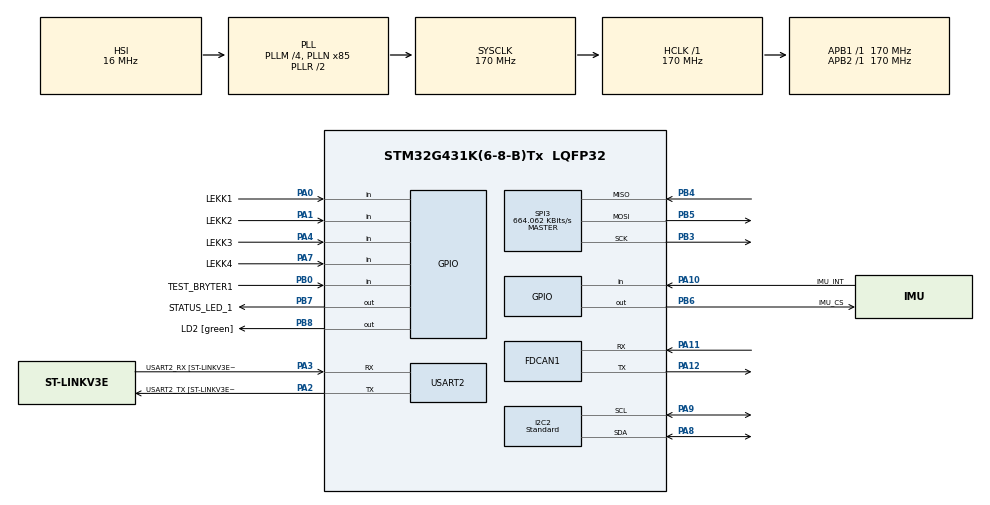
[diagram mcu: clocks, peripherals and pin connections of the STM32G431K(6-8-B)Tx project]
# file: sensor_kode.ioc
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FDCAN1.AutoRetransmission=ENABLE
FDCAN1.CalculateBaudRateNominal=500000
FDCAN1.CalculateTimeBitNominal=2000
FDCAN1.CalculateTimeQuantumNominal=100.0
FDCAN1.DataPrescaler=17
FDCAN1.DataTimeSeg1=15
FDCAN1.DataTimeSeg2=4
FDCAN1.NominalPrescaler=17
FDCAN1.NominalTimeSeg1=15
FDCAN1.NominalTimeSeg2=4
FDCAN1.StdFiltersNbr=1
I2C2.I2C_Speed_Mode=I2C_Standard
I2C2.Timing=0x30A0A7FB
Mcu.Family=STM32G4
Mcu.Name=STM32G431K(6-8-B)Tx
Mcu.Package=LQFP32
NVIC.FDCAN1_IT0_IRQn=true\:0\:0\:false\:false\:true\:true\:true\:true
NVIC.PriorityGroup=NVIC_PRIORITYGROUP_4
NVIC.TIM2_IRQn=true\:0\:0\:false\:false\:true\:true\:true\:true
PA0.GPIO_Label=LEKK1
PA0.Signal=GPIO_Input
PA1.GPIO_Label=LEKK2
PA1.Signal=GPIO_Input
PA10.GPIO_Label=IMU_INT
PA10.Signal=GPIO_Input
PA11.Mode=FDCAN_Activate
PA11.Signal=FDCAN1_RX
PA12.Mode=FDCAN_Activate
PA12.Signal=FDCAN1_TX
PA13.GPIO_Label=T_SWDIO
PA13.Mode=Serial_Wire
PA13.Signal=SYS_JTMS-SWDIO
PA14.GPIO_Label=T_SWCLK
PA14.Mode=Serial_Wire
PA14.Signal=SYS_JTCK-SWCLK
PA2.GPIO_Label=USART2_TX [ST-LINKV3E_VCP_RX]
PA2.Mode=Asynchronous
PA2.Signal=USART2_TX
PA3.GPIO_Label=USART2_RX [ST-LINKV3E_VCP_TX]
PA3.Mode=Asynchronous
PA3.Signal=USART2_RX
PA4.GPIO_Label=LEKK3
PA4.Signal=GPIO_Input
PA7.GPIO_Label=LEKK4
PA7.Signal=GPIO_Input
PA8.Mode=I2C
PA8.Signal=I2C2_SDA
PA9.Mode=I2C
PA9.Signal=I2C2_SCL
PB0.GPIO_Label=TEST_BRYTER1
PB0.Signal=GPIO_Input
PB3.Mode=Full_Duplex_Master
PB3.Signal=SPI3_SCK
PB4.Mode=Full_Duplex_Master
PB4.Signal=SPI3_MISO
PB5.Mode=Full_Duplex_Master
PB5.Signal=SPI3_MOSI
PB6.GPIO_Label=IMU_CS
PB6.Signal=GPIO_Output
PB7.GPIO_Label=STATUS_LED_1
PB7.GPIO_Speed=GPIO_SPEED_FREQ_VERY_HIGH
PB7.Signal=GPIO_Output
PB8-BOOT0.GPIO_Label=LD2 [green]
PB8-BOOT0.Signal=GPIO_Output
ProjectManager.HeapSize=0x200
ProjectManager.StackSize=0x400
ProjectManager.TargetToolchain=STM32CubeIDE
RCC.ADC12Freq_Value=170000000
RCC.AHBFreq_Value=170000000
RCC.APB1Freq_Value=170000000
RCC.APB1TimFreq_Value=170000000
RCC.APB2Freq_Value=170000000
RCC.APB2TimFreq_Value=170000000
RCC.CortexFreq_Value=170000000
RCC.EXTERNAL_CLOCK_VALUE=12288000
RCC.HCLKFreq_Value=170000000
RCC.HSE_VALUE=8000000
RCC.HSI48_VALUE=48000000
RCC.HSI_VALUE=16000000
RCC.LSE_VALUE=32768
RCC.PLLM=RCC_PLLM_DIV4
RCC.PLLN=85
RCC.SYSCLKFreq_VALUE=170000000
RCC.SYSCLKSource=RCC_SYSCLKSOURCE_PLLCLK
RCC.USBFreq_Value=170000000
RCC.VCOOutputFreq_Value=340000000
SPI3.BaudRatePrescaler=SPI_BAUDRATEPRESCALER_256
SPI3.CalculateBaudRate=664.062 KBits/s
SPI3.DataSize=SPI_DATASIZE_8BIT
SPI3.Direction=SPI_DIRECTION_2LINES
SPI3.Mode=SPI_MODE_MASTER
SPI3.VirtualType=VM_MASTER
TIM2.AutoReloadPreload=TIM_AUTORELOAD_PRELOAD_ENABLE
TIM2.PeriodNoDither=10000
TIM2.Prescaler=170
USART2.MSBFirstParam=ADVFEATURE_MSBFIRST_DISABLE
USART2.VirtualMode-Asynchronous=VM_ASYNC
USART2.WordLength=WORDLENGTH_8B
VP_TIM2_VS_ClockSourceINT.Mode=Internal
board=NUCLEO-G431KB

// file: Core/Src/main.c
/* USER CODE BEGIN Header */
/**
 ******************************************************************************
 * @file           : main.c
 * @brief          : Main program body
 ******************************************************************************
 * @attention
 *
 * Copyright (c) 2023 STMicroelectronics.
 * All rights reserved.
 *
 * This software is licensed under terms that can be found in the LICENSE file
 * in the root directory of this software component.
 * If no LICENSE file comes with this software, it is provided AS-IS.
 *
 ******************************************************************************
 */
/* USER CODE END Header */
#include "main.h"
#include "fdcan.h"
#include "i2c.h"
#include "spi.h"
#include "tim.h"
#include "usart.h"
#include "gpio.h"

/* USER CODE BEGIN Includes */
#include <stdbool.h>
#include <stdint.h>
#include <string.h>
#include <stdio.h>
#include <math.h>

#include "logging.h"
#include "stm32g431xx.h"
#include "stm32g4xx_hal.h"
#include "stm32g4xx_hal_fdcan.h"
#include "stm32g4xx_hal_gpio.h"
#include "stm32g4xx_hal_uart.h"
#include "stm32g4xx_it.h"
#include "ICM20948.h"
#include "helpers.h"
#include "orient.h"
#include "can_handler.h"
#include "gpio_handler.h"
#include "cordic.h"
#include "STTS75.h"
#include "MS5837.h"
#include "stm32g4xx_it.h"
#include "error_handler.h"

/* USER CODE END Includes */

/* USER CODE BEGIN PV */
int i = 0;
int a = 0;
int b = 0;
int c = 0;
int d = 0;
int e = 0;

ICM20948 imu;
STTS75 temp_sensor = {0};
MS5837 pres_sensor = {0};
bool TB_status;
extern uint8_t init_flags;

struct orientation orient = {0};
MS5837_StatusTypeDef pres_status;
//extern struct tim_2_flags tim_flags;

FDCAN_FilterTypeDef sFilterConfig;
FDCAN_TxHeaderTypeDef TxHeader;
FDCAN_RxHeaderTypeDef RxHeader;
uint8_t TxData[8] = {0x01,0x02,0x03,0x04,0x05,0x06,0x07,0x08};  // CAN-Bus Transmit Buffer
uint8_t RxData[8] = {0, 0, 0, 0, 0, 0, 0, 0};                   // CAN-Bus Receive Buffer

/* USER CODE END PV */

void SystemClock_Config(void);
/* USER CODE BEGIN PFP */
//void oppstartCAN(FDCAN_HandleTypeDef *canPort);
//void sendCAN(uint16_t id, FDCAN_HandleTypeDef *canPort);
ICM20948_StatusTypeDef IMU_Init(void);
/* USER CODE END PFP */

int main(void)
{

  /* MCU Configuration--------------------------------------------------------*/

  /* Reset of all peripherals, Initializes the Flash interface and the Systick. */
  HAL_Init();

  /* Configure the system clock */
  SystemClock_Config();

  /* Initialize all configured peripherals */
  MX_GPIO_Init();
  MX_USART2_UART_Init();
  MX_FDCAN1_Init();
  MX_I2C2_Init();
  MX_SPI3_Init();
  MX_TIM2_Init();
  /* USER CODE BEGIN 2 */
	HAL_GPIO_TogglePin(GPIOB, LED1_Pin);
	//HAL_GPIO_TogglePin(GPIOB, LED1_Pin);
    FDCAN_Init(&hfdcan1);
    ICM20948_StatusTypeDef imu_status = IMU_Init();
   // IMU_cal(&imu, 500);
    /* Init temp sensor */
    STTS75_Init(&temp_sensor, &hi2c2, STTS75_12BIT);
    /* Init pres sensor */
    vanntype vanntype = FERSKVANN;
    pres_status = MS5837_Init(&pres_sensor, &hi2c2, &vanntype);
    pres_status = MS5837_Read_PROMS(&pres_sensor);
    MS5837_nullstill_trykk(&pres_sensor);
    STTS75_StatusTypeDef temp_status;
    //CORDIC_Init();
    //IMU_cal(&imu, 1000);

    HAL_TIM_Base_Start_IT(&htim2);
    NVIC_EnableIRQ(TIM2_IRQn);
  /* USER CODE END 2 */

  /* Infinite loop */
  /* USER CODE BEGIN WHILE */
    //IMU_com_test();
    static last_leak_status = 0;
    while (1)
    {
    	i += 1;
    /* USER CODE END WHILE */

    /* USER CODE BEGIN 3 */

    	if (tim_flags.topside)
    	{
    		a += 1;
            tim_flags.topside = 0;
            if (temp_status || pres_status) Temp_error_handler(temp_status);
            FDCAN_Send_Temp_Pres(&temp_sensor, &pres_sensor, TOP_ID_TEMP_PRES);
            //ICM20948_Read_Data_Poll(&imu);
            //compute_orientation(&imu, &orient);
            FDCAN_Send_Orientation_Data(&orient, TOP_ID_ORIENTATION_DATA);

            Check_Leak_Probes();
            //if (leak_status && (last_leak_status != leak_status)) Send_Error_Code();
            if (leak_status) Send_Error_Code();
            last_leak_status = leak_status;
        }

        if (tim_flags.pres_read)
        {
        	b += 1;
            tim_flags.pres_read = 0;
            pres_status = MS5837_Dybde(&pres_sensor);
            if (pres_status) Pres_error_handler(pres_status);
        }

        if (tim_flags.temp_read)
        {
        	c += 1;
    	    HAL_GPIO_TogglePin(GPIOB, LED1_Pin);
            tim_flags.temp_read = 0;
            temp_status = STTS75_Read_Temp(&temp_sensor);
            if (temp_status) Temp_error_handler(temp_status);
        }
        if (tim_flags.reg_send)
        {
        	e += 1;
            tim_flags.reg_send = 0;
            imu_status = ICM20948_Read_Data_Poll(&imu);
            compute_orientation(&imu, &orient);
            if (imu_status) IMU_error_handler(imu_status);
            else FDCAN_Send_Reg(&orient, &pres_sensor);
        }

        if (init_flags)
        {
            //__disable_irq();
            if (init_flags & 1) MS5837_nullstill_trykk(&pres_sensor);
           // if ((init_flags & (1 << 1)) || (init_flags & (1 << 2))) IMU_cal(&imu, 100);
            if (init_flags & (1 << 3)) vanntype = SALTVANN;
            init_flags = 0;
            //__enable_irq();

        }
    }
  /* USER CODE END 3 */
}

void SystemClock_Config(void)
{
  RCC_OscInitTypeDef RCC_OscInitStruct = {0};
  RCC_ClkInitTypeDef RCC_ClkInitStruct = {0};

  /** Configure the main internal regulator output voltage
  */
  HAL_PWREx_ControlVoltageScaling(PWR_REGULATOR_VOLTAGE_SCALE1_BOOST);

  /** Initializes the RCC Oscillators according to the specified parameters
  * in the RCC_OscInitTypeDef structure.
  */
  RCC_OscInitStruct.OscillatorType = RCC_OSCILLATORTYPE_HSI;
  RCC_OscInitStruct.HSIState = RCC_HSI_ON;
  RCC_OscInitStruct.HSICalibrationValue = RCC_HSICALIBRATION_DEFAULT;
  RCC_OscInitStruct.PLL.PLLState = RCC_PLL_ON;
  RCC_OscInitStruct.PLL.PLLSource = RCC_PLLSOURCE_HSI;
  RCC_OscInitStruct.PLL.PLLM = RCC_PLLM_DIV4;
  RCC_OscInitStruct.PLL.PLLN = 85;
  RCC_OscInitStruct.PLL.PLLP = RCC_PLLP_DIV2;
  RCC_OscInitStruct.PLL.PLLQ = RCC_PLLQ_DIV2;
  RCC_OscInitStruct.PLL.PLLR = RCC_PLLR_DIV2;
  if (HAL_RCC_OscConfig(&RCC_OscInitStruct) != HAL_OK)
  {
    Error_Handler();
  }

  /** Initializes the CPU, AHB and APB buses clocks
  */
  RCC_ClkInitStruct.ClockType = RCC_CLOCKTYPE_HCLK|RCC_CLOCKTYPE_SYSCLK
                              |RCC_CLOCKTYPE_PCLK1|RCC_CLOCKTYPE_PCLK2;
  RCC_ClkInitStruct.SYSCLKSource = RCC_SYSCLKSOURCE_PLLCLK;
  RCC_ClkInitStruct.AHBCLKDivider = RCC_SYSCLK_DIV1;
  RCC_ClkInitStruct.APB1CLKDivider = RCC_HCLK_DIV1;
  RCC_ClkInitStruct.APB2CLKDivider = RCC_HCLK_DIV1;

  if (HAL_RCC_ClockConfig(&RCC_ClkInitStruct, FLASH_LATENCY_4) != HAL_OK)
  {
    Error_Handler();
  }
}

/* USER CODE BEGIN 4 */
ICM20948_StatusTypeDef IMU_Init()
{
    HAL_GPIO_WritePin(IMU_CS_GPIO_Port, IMU_CS_Pin, GPIO_PIN_SET);
    delay_ms(100);
    ICM20948_InitTypeDef cfg = {0};
    cfg.clk_src = ICM20948_AUTO_SEL_CLK;

    /* Accel settings */
    cfg.accel_enable = true;
    cfg.accel_scale = ICM20948_2g;
    cfg.accel_lpf_enable = true;
    cfg.accel_break_freq = 196;

    /* Gyro settings */
    cfg.gyro_enable = true;
    cfg.gyro_scale = ICM20948_250dps;
    cfg.gyro_lpf_enable = true;
    cfg.gyro_break_freq = 20;

    /* Mag setteings TODO: */
    cfg.mag_enable = false;

    return ICM20948_Init(&imu, &hspi3, IMU_CS_Pin, IMU_CS_GPIO_Port, &cfg);
}

/* USER CODE END 4 */

void Error_Handler(void)
{
    __disable_irq();
    while (1)
    {
    }
}

#ifdef  USE_FULL_ASSERT
/**
  * @brief  Reports the name of the source file and the source line number
  *         where the assert_param error has occurred.
  * @param  file: pointer to the source file name
  * @param  line: assert_param error line source number
  * @retval None
  */
void assert_failed(uint8_t *file, uint32_t line)
{
  /* USER CODE BEGIN 6 */
    /* User can add his own implementation to report the file name and line number,
     * example: printf("Wrong parameters value: file %s on line %d\r\n", file, line) */
  /* USER CODE END 6 */
}
#endif /* USE_FULL_ASSERT */
